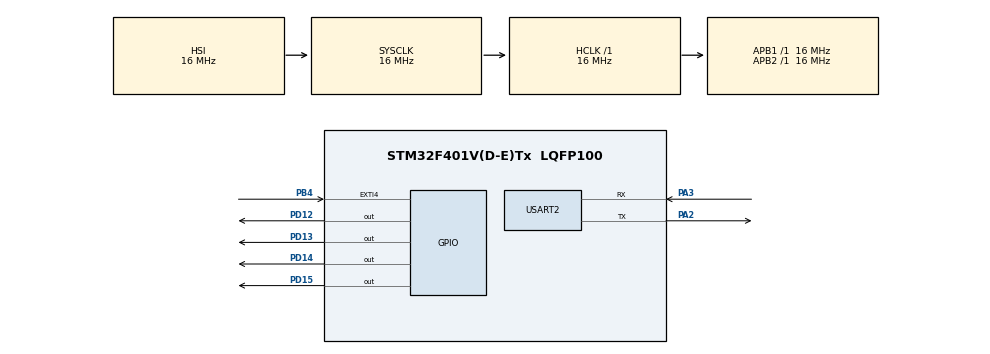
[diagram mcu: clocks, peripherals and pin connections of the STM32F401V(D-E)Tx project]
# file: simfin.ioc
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Mcu.Family=STM32F4
Mcu.Name=STM32F401V(D-E)Tx
Mcu.Package=LQFP100
NVIC.EXTI4_IRQn=true\:0\:0\:false\:false\:true\:true\:true
NVIC.PriorityGroup=NVIC_PRIORITYGROUP_4
NVIC.TIM1_TRG_COM_TIM11_IRQn=true\:0\:0\:false\:false\:true\:true\:true
NVIC.TIM1_UP_TIM10_IRQn=true\:0\:0\:false\:false\:true\:true\:true
PA2.Mode=Asynchronous
PA2.Signal=USART2_TX
PA3.Mode=Asynchronous
PA3.Signal=USART2_RX
PB4.GPIO_ModeDefaultEXTI=GPIO_MODE_IT_RISING_FALLING
PB4.GPIO_PuPd=GPIO_PULLUP
PB4.Signal=GPXTI4
PC14-OSC32_IN.Mode=LSE-External-Oscillator
PC14-OSC32_IN.Signal=RCC_OSC32_IN
PC15-OSC32_OUT.Mode=LSE-External-Oscillator
PC15-OSC32_OUT.Signal=RCC_OSC32_OUT
PD12.Signal=GPIO_Output
PD13.Signal=GPIO_Output
PD14.Signal=GPIO_Output
PD15.Signal=GPIO_Output
PH0\ -\ OSC_IN.Mode=HSE-External-Oscillator
PH0\ -\ OSC_IN.Signal=RCC_OSC_IN
PH1\ -\ OSC_OUT.Mode=HSE-External-Oscillator
PH1\ -\ OSC_OUT.Signal=RCC_OSC_OUT
ProjectManager.HeapSize=0x200
ProjectManager.StackSize=0x400
ProjectManager.TargetToolchain=STM32CubeIDE
RCC.AHBFreq_Value=16000000
RCC.APB1Freq_Value=16000000
RCC.APB2Freq_Value=16000000
RCC.CortexFreq_Value=16000000
RCC.HSE_VALUE=25000000
RCC.HSI_VALUE=16000000
RCC.SYSCLKFreq_VALUE=16000000
RCC.VCOOutputFreq_Value=192000000
TIM10.Period=65536-1
TIM10.Prescaler=16000-1
TIM11.Period=100-1
TIM11.Prescaler=16000-1
USART2.VirtualMode=VM_ASYNC
VP_TIM10_VS_ClockSourceINT.Mode=Enable_Timer
VP_TIM11_VS_ClockSourceINT.Mode=Enable_Timer
board=custom

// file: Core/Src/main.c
/* USER CODE BEGIN Header */
/**
  ******************************************************************************
  * @file           : main.c
  * @brief          : Main program body
  ******************************************************************************
  * @attention
  *
  * Copyright (c) 2023 STMicroelectronics.
  * All rights reserved.
  *
  * This software is licensed under terms that can be found in the LICENSE file
  * in the root directory of this software component.
  * If no LICENSE file comes with this software, it is provided AS-IS.
  *
  ******************************************************************************
  */
/* USER CODE END Header */
#include "main.h"

/* USER CODE BEGIN Includes */
#include <stdio.h>
#include <string.h>
#include "stm32f4xx_hal_tim.h"
/* USER CODE END Includes */

TIM_HandleTypeDef htim10;
TIM_HandleTypeDef htim11;

UART_HandleTypeDef huart2;

/* USER CODE BEGIN PV */
uint8_t flag=0;
char uart_buf[50];
int uart_buf_len;
uint16_t timer10_cnt;
uint16_t timer11_cnt;
/* USER CODE END PV */

void SystemClock_Config(void);
static void MX_GPIO_Init(void);
static void MX_TIM10_Init(void);
static void MX_TIM11_Init(void);
static void MX_USART2_UART_Init(void);

int main(void)
{

  /* MCU Configuration--------------------------------------------------------*/

  /* Reset of all peripherals, Initializes the Flash interface and the Systick. */
  HAL_Init();

  /* Configure the system clock */
  SystemClock_Config();

  /* Initialize all configured peripherals */
  MX_GPIO_Init();
  MX_TIM10_Init();
  MX_TIM11_Init();
  MX_USART2_UART_Init();

  /* Infinite loop */
  /* USER CODE BEGIN WHILE */
  while (1)
  {
	  if(flag == 0)
	  {
		  HAL_GPIO_WritePin(GPIOD, GPIO_PIN_12, GPIO_PIN_SET);
		  HAL_Delay(800);
		  HAL_GPIO_WritePin(GPIOD, GPIO_PIN_12, GPIO_PIN_RESET);

		  HAL_GPIO_WritePin(GPIOD, GPIO_PIN_13, GPIO_PIN_SET);
		  HAL_Delay(800);
		  HAL_GPIO_WritePin(GPIOD, GPIO_PIN_13, GPIO_PIN_RESET);

		  HAL_GPIO_WritePin(GPIOD, GPIO_PIN_14, GPIO_PIN_SET);
		  HAL_Delay(800);
		  HAL_GPIO_WritePin(GPIOD, GPIO_PIN_14, GPIO_PIN_RESET);

		  HAL_GPIO_WritePin(GPIOD, GPIO_PIN_15, GPIO_PIN_SET);
		  HAL_Delay(800);
		  HAL_GPIO_WritePin(GPIOD, GPIO_PIN_15, GPIO_PIN_RESET);
	  }else
	  {
		  HAL_GPIO_WritePin(GPIOD, GPIO_PIN_12, GPIO_PIN_RESET);
		  HAL_GPIO_WritePin(GPIOD, GPIO_PIN_13, GPIO_PIN_RESET);
		  HAL_GPIO_WritePin(GPIOD, GPIO_PIN_14, GPIO_PIN_RESET);
		  HAL_GPIO_WritePin(GPIOD, GPIO_PIN_15, GPIO_PIN_RESET);

	  }
    /* USER CODE END WHILE */

  }
}

void SystemClock_Config(void)
{
  RCC_OscInitTypeDef RCC_OscInitStruct = {0};
  RCC_ClkInitTypeDef RCC_ClkInitStruct = {0};

  /** Configure the main internal regulator output voltage
  */
  __HAL_RCC_PWR_CLK_ENABLE();
  __HAL_PWR_VOLTAGESCALING_CONFIG(PWR_REGULATOR_VOLTAGE_SCALE2);
  /** Initializes the RCC Oscillators according to the specified parameters
  * in the RCC_OscInitTypeDef structure.
  */
  RCC_OscInitStruct.OscillatorType = RCC_OSCILLATORTYPE_HSI;
  RCC_OscInitStruct.HSIState = RCC_HSI_ON;
  RCC_OscInitStruct.HSICalibrationValue = RCC_HSICALIBRATION_DEFAULT;
  RCC_OscInitStruct.PLL.PLLState = RCC_PLL_NONE;
  if (HAL_RCC_OscConfig(&RCC_OscInitStruct) != HAL_OK)
  {
    Error_Handler();
  }
  /** Initializes the CPU, AHB and APB buses clocks
  */
  RCC_ClkInitStruct.ClockType = RCC_CLOCKTYPE_HCLK|RCC_CLOCKTYPE_SYSCLK
                              |RCC_CLOCKTYPE_PCLK1|RCC_CLOCKTYPE_PCLK2;
  RCC_ClkInitStruct.SYSCLKSource = RCC_SYSCLKSOURCE_HSI;
  RCC_ClkInitStruct.AHBCLKDivider = RCC_SYSCLK_DIV1;
  RCC_ClkInitStruct.APB1CLKDivider = RCC_HCLK_DIV1;
  RCC_ClkInitStruct.APB2CLKDivider = RCC_HCLK_DIV1;

  if (HAL_RCC_ClockConfig(&RCC_ClkInitStruct, FLASH_LATENCY_0) != HAL_OK)
  {
    Error_Handler();
  }
}

static void MX_TIM10_Init(void)
{

  htim10.Instance = TIM10;
  htim10.Init.Prescaler = 16000-1;
  htim10.Init.CounterMode = TIM_COUNTERMODE_UP;
  htim10.Init.Period = 65536-1;
  htim10.Init.ClockDivision = TIM_CLOCKDIVISION_DIV1;
  htim10.Init.AutoReloadPreload = TIM_AUTORELOAD_PRELOAD_DISABLE;
  if (HAL_TIM_Base_Init(&htim10) != HAL_OK)
  {
    Error_Handler();
  }

}

static void MX_TIM11_Init(void)
{

  htim11.Instance = TIM11;
  htim11.Init.Prescaler = 16000-1;
  htim11.Init.CounterMode = TIM_COUNTERMODE_UP;
  htim11.Init.Period = 100-1;
  htim11.Init.ClockDivision = TIM_CLOCKDIVISION_DIV1;
  htim11.Init.AutoReloadPreload = TIM_AUTORELOAD_PRELOAD_DISABLE;
  if (HAL_TIM_Base_Init(&htim11) != HAL_OK)
  {
    Error_Handler();
  }

}

static void MX_USART2_UART_Init(void)
{

  huart2.Instance = USART2;
  huart2.Init.BaudRate = 115200;
  huart2.Init.WordLength = UART_WORDLENGTH_8B;
  huart2.Init.StopBits = UART_STOPBITS_1;
  huart2.Init.Parity = UART_PARITY_NONE;
  huart2.Init.Mode = UART_MODE_TX_RX;
  huart2.Init.HwFlowCtl = UART_HWCONTROL_NONE;
  huart2.Init.OverSampling = UART_OVERSAMPLING_16;
  if (HAL_UART_Init(&huart2) != HAL_OK)
  {
    Error_Handler();
  }

}

static void MX_GPIO_Init(void)
{
  GPIO_InitTypeDef GPIO_InitStruct = {0};

  /* GPIO Ports Clock Enable */
  __HAL_RCC_GPIOC_CLK_ENABLE();
  __HAL_RCC_GPIOH_CLK_ENABLE();
  __HAL_RCC_GPIOA_CLK_ENABLE();
  __HAL_RCC_GPIOD_CLK_ENABLE();
  __HAL_RCC_GPIOB_CLK_ENABLE();

  /*Configure GPIO pin Output Level */
  HAL_GPIO_WritePin(GPIOD, GPIO_PIN_12|GPIO_PIN_13|GPIO_PIN_14|GPIO_PIN_15, GPIO_PIN_RESET);

  /*Configure GPIO pins : PD12 PD13 PD14 PD15 */
  GPIO_InitStruct.Pin = GPIO_PIN_12|GPIO_PIN_13|GPIO_PIN_14|GPIO_PIN_15;
  GPIO_InitStruct.Mode = GPIO_MODE_OUTPUT_PP;
  GPIO_InitStruct.Pull = GPIO_NOPULL;
  GPIO_InitStruct.Speed = GPIO_SPEED_FREQ_LOW;
  HAL_GPIO_Init(GPIOD, &GPIO_InitStruct);

  /*Configure GPIO pin : PB4 */
  GPIO_InitStruct.Pin = GPIO_PIN_4;
  GPIO_InitStruct.Mode = GPIO_MODE_IT_RISING_FALLING;
  GPIO_InitStruct.Pull = GPIO_PULLUP;
  HAL_GPIO_Init(GPIOB, &GPIO_InitStruct);

  /* EXTI interrupt init*/
  HAL_NVIC_SetPriority(EXTI4_IRQn, 0, 0);
  HAL_NVIC_EnableIRQ(EXTI4_IRQn);

}

/* USER CODE BEGIN 4 */
void HAL_GPIO_EXTI_Callback(uint16_t GPIO_Pin)
{
	if(GPIO_Pin == GPIO_PIN_4)
	{

		flag = 1;
		if(HAL_GPIO_ReadPin(GPIOB, GPIO_PIN_4) == GPIO_PIN_RESET)
		{

			HAL_TIM_Base_Start_IT(&htim10);

			if(__HAL_TIM_GET_COUNTER(&htim11) != 0)
			{
				timer11_cnt = __HAL_TIM_GET_COUNTER(&htim11);
				uart_buf_len = sprintf(uart_buf, "Button is not pressed for %u ms\r\n", timer11_cnt);
				HAL_UART_Transmit(&huart2, (uint8_t *)uart_buf, uart_buf_len, 100);
				HAL_TIM_Base_Stop_IT(&htim11);
				__HAL_TIM_SET_COUNTER(&htim11, 0);
			}

		}else if(HAL_GPIO_ReadPin(GPIOB, GPIO_PIN_4) == GPIO_PIN_SET)
		{
			HAL_TIM_Base_Start_IT(&htim11);

			timer10_cnt = __HAL_TIM_GET_COUNTER(&htim10);
			uart_buf_len = sprintf(uart_buf, "Button is pressed for %u ms\r\n", timer10_cnt);
			HAL_UART_Transmit(&huart2, (uint8_t *)uart_buf, uart_buf_len, 100);
			HAL_TIM_Base_Stop_IT(&htim10);
			__HAL_TIM_SET_COUNTER(&htim10, 0);

		}

	}
}

void HAL_TIM_PeriodElapsedCallback(TIM_HandleTypeDef *htim)
{
	if(htim == &htim11)
	{
		flag = 0;

		HAL_TIM_Base_Stop_IT(&htim11);
		__HAL_TIM_SET_COUNTER(&htim11, 0);
	}

}

/* USER CODE END 4 */

void Error_Handler(void)
{
  __disable_irq();
  while (1)
  {
  }
}
